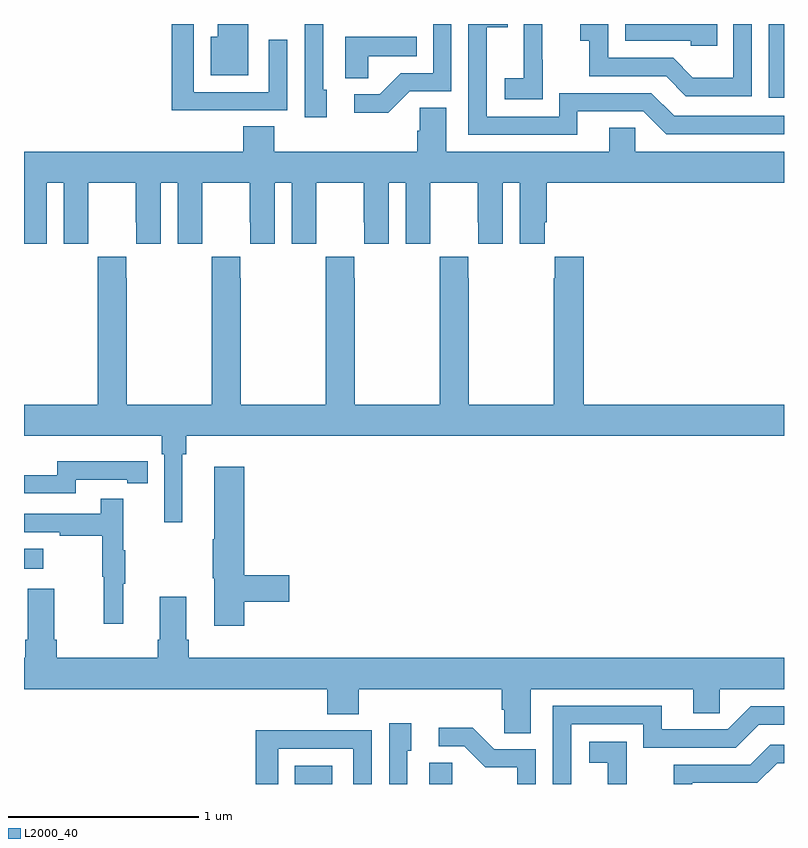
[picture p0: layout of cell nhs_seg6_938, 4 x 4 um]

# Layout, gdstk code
import gdstk
lib = gdstk.Library(unit=1e-6, precision=1e-09)
def R(c, l, rs):  # rectangles x0, y0, x1, y1
    for r in rs: c.add(gdstk.rectangle(r[:2], r[2:], *l))
def P(c, l, *ps):  # polygons
    for p in ps: c.add(gdstk.Polygon(p, *l))
L2000_40 = (2000, 40)

nhs_seg6_938 = lib.new_cell('nhs_seg6_938')
R(nhs_seg6_938, L2000_40, [(170.426,949.5,170.623,949.597), (171.134,949.5,171.255,949.613), (169,950.633,169.102,950.737), (172.92,953.112,173,953.5)])
P(nhs_seg6_938, L2000_40, [(172.649,953.5),(172.164,953.5),(172.164,953.412),(172.509,953.412),(172.509,953.385),(172.649,953.385)],
  [(170.069,953.046),(170.385,953.046),(170.385,953.416),(170.289,953.416),(170.289,953.142),(169.893,953.142),(169.893,953.5),(169.777,953.5),(169.777,953.045),(170.069,953.045)],
  [(172.83,953.5),(172.734,953.5),(172.734,953.218),(172.52,953.218),(172.416,953.322),(172.074,953.322),(172.074,953.5),(171.927,953.5),(171.927,953.411),(171.976,953.411),(171.976,953.226),(172.379,953.226),(172.484,953.121),(172.83,953.121)],
  [(170.179,953.5),(170.021,953.5),(170.021,953.434),(169.982,953.434),(169.982,953.231),(170.179,953.231)],
  [(170.593,953.154),(170.574,953.154),(170.574,953.5),(170.478,953.5),(170.478,953.01),(170.593,953.01)],
  [(171.729,953.311),(171.728,953.311),(171.728,953.5),(171.63,953.5),(171.63,953.444),(171.629,953.444),(171.629,953.215),(171.531,953.215),(171.531,953.105),(171.729,953.105)],
  [(171.03,953.145),(171.249,953.145),(171.249,953.5),(171.153,953.5),(171.153,953.241),(170.984,953.241),(170.873,953.13),(170.739,953.13),(170.739,953.033),(170.917,953.033)],
  [(171.913,953.04),(172.26,953.04),(172.38,952.92),(173,952.92),(173,953.016),(172.422,953.016),(172.302,953.136),(171.816,953.136),(171.816,953.013),(171.435,953.013),(171.435,953.482),(171.545,953.482),(171.545,953.5),(171.339,953.5),(171.339,952.917),(171.913,952.917)],
  [(170.811,953.33),(171.068,953.33),(171.068,953.434),(170.69,953.434),(170.69,953.215),(170.811,953.215)],
  [(169,952.344),(169.12,952.344),(169.12,952.664),(169.208,952.664),(169.208,952.344),(169.338,952.344),(169.338,952.456),(169.339,952.456),(169.339,952.664),(169.589,952.664),(169.589,952.456),(169.59,952.456),(169.59,952.344),(169.72,952.344),(169.72,952.664),(169.808,952.664),(169.808,952.344),(169.938,952.344),(169.938,952.456),(169.939,952.456),(169.939,952.664),(170.189,952.664),(170.189,952.456),(170.19,952.456),(170.19,952.344),(170.32,952.344),(170.32,952.664),(170.408,952.664),(170.408,952.344),(170.538,952.344),(170.538,952.456),(170.539,952.456),(170.539,952.664),(170.789,952.664),(170.789,952.456),(170.79,952.456),(170.79,952.344),(170.92,952.344),(170.92,952.664),(171.008,952.664),(171.008,952.344),(171.138,952.344),(171.138,952.456),(171.139,952.456),(171.139,952.664),(171.389,952.664),(171.389,952.456),(171.39,952.456),(171.39,952.344),(171.52,952.344),(171.52,952.664),(171.608,952.664),(171.608,952.344),(171.742,952.344),(171.742,952.456),(171.752,952.456),(171.752,952.664),(173,952.664),(173,952.828),(172.218,952.828),(172.218,952.955),(172.079,952.955),(172.079,952.828),(171.223,952.828),(171.223,953.06),(171.084,953.06),(171.084,952.937),(171.071,952.937),(171.071,952.828),(170.318,952.828),(170.318,952.961),(170.153,952.961),(170.153,952.828),(169,952.828)],
  [(169.834,951.236),(169.853,951.236),(169.853,951.332),(173,951.332),(173,951.496),(171.947,951.496),(171.947,952.276),(171.793,952.276),(171.793,952.163),(171.787,952.163),(171.787,951.496),(171.342,951.496),(171.342,952.163),(171.339,952.163),(171.339,952.276),(171.189,952.276),(171.189,952.163),(171.187,952.163),(171.187,951.496),(170.742,951.496),(170.742,952.163),(170.739,952.163),(170.739,952.276),(170.589,952.276),(170.589,952.163),(170.587,952.163),(170.587,951.496),(170.142,951.496),(170.142,952.163),(170.139,952.163),(170.139,952.276),(169.989,952.276),(169.989,952.163),(169.987,952.163),(169.987,951.496),(169.542,951.496),(169.542,952.163),(169.539,952.163),(169.539,952.276),(169.389,952.276),(169.389,952.163),(169.387,952.163),(169.387,951.496),(169,951.496),(169,951.332),(169.724,951.332),(169.724,951.236),(169.737,951.236),(169.737,950.877),(169.834,950.877)],
  [(169.272,951.102),(169.544,951.102),(169.544,951.082),(169.652,951.082),(169.652,951.198),(169.544,951.198),(169.544,951.199),(169.176,951.199),(169.176,951.126),(169,951.126),(169,951.03),(169.272,951.03)],
  [(170.159,950.458),(170.395,950.458),(170.395,950.6),(170.159,950.6),(170.159,951.169),(170,951.169),(170,950.789),(169.993,950.789),(169.993,950.583),(170,950.583),(170,950.334),(170.159,950.334)],
  [(169.523,950.555),(169.534,950.555),(169.534,950.729),(169.523,950.729),(169.523,951.001),(169.405,951.001),(169.405,950.922),(169,950.922),(169,950.826),(169.189,950.826),(169.189,950.806),(169.413,950.806),(169.413,950.592),(169.42,950.592),(169.42,950.343),(169.523,950.343)],
  [(171.667,950),(172.523,950),(172.523,949.873),(172.662,949.873),(172.662,950),(173,950),(173,950.164),(169.868,950.164),(169.868,950.26),(169.855,950.26),(169.855,950.485),(169.715,950.485),(169.715,950.26),(169.703,950.26),(169.703,950.164),(169.172,950.164),(169.172,950.26),(169.159,950.26),(169.159,950.527),(169.019,950.527),(169.019,950.26),(169.007,950.26),(169.007,950.164),(169,950.164),(169,950),(170.597,950),(170.597,949.867),(170.762,949.867),(170.762,950),(171.515,950),(171.515,949.891),(171.528,949.891),(171.528,949.768),(171.667,949.768)],
  [(171.879,949.815),(172.26,949.815),(172.26,949.692),(172.746,949.692),(172.866,949.812),(173,949.812),(173,949.908),(172.824,949.908),(172.704,949.788),(172.357,949.788),(172.357,949.911),(171.783,949.911),(171.783,949.5),(171.879,949.5)],
  [(171.018,949.674),(171.037,949.674),(171.037,949.819),(170.922,949.819),(170.922,949.5),(171.018,949.5)],
  [(171.693,949.683),(171.474,949.683),(171.361,949.796),(171.183,949.796),(171.183,949.698),(171.317,949.698),(171.428,949.587),(171.597,949.587),(171.597,949.5),(171.693,949.5)],
  [(170.337,949.686),(170.733,949.686),(170.733,949.5),(170.829,949.5),(170.829,949.782),(170.513,949.782),(170.513,949.784),(170.221,949.784),(170.221,949.5),(170.337,949.5)],
  [(172.172,949.517),(172.173,949.517),(172.173,949.723),(171.975,949.723),(171.975,949.613),(172.073,949.613),(172.073,949.5),(172.172,949.5)],
  [(172.518,949.506),(172.86,949.506),(172.964,949.61),(173,949.61),(173,949.707),(172.928,949.707),(172.823,949.602),(172.42,949.602),(172.42,949.5),(172.518,949.5)])

lib.write_gds('nhs_seg6_938.gds')
